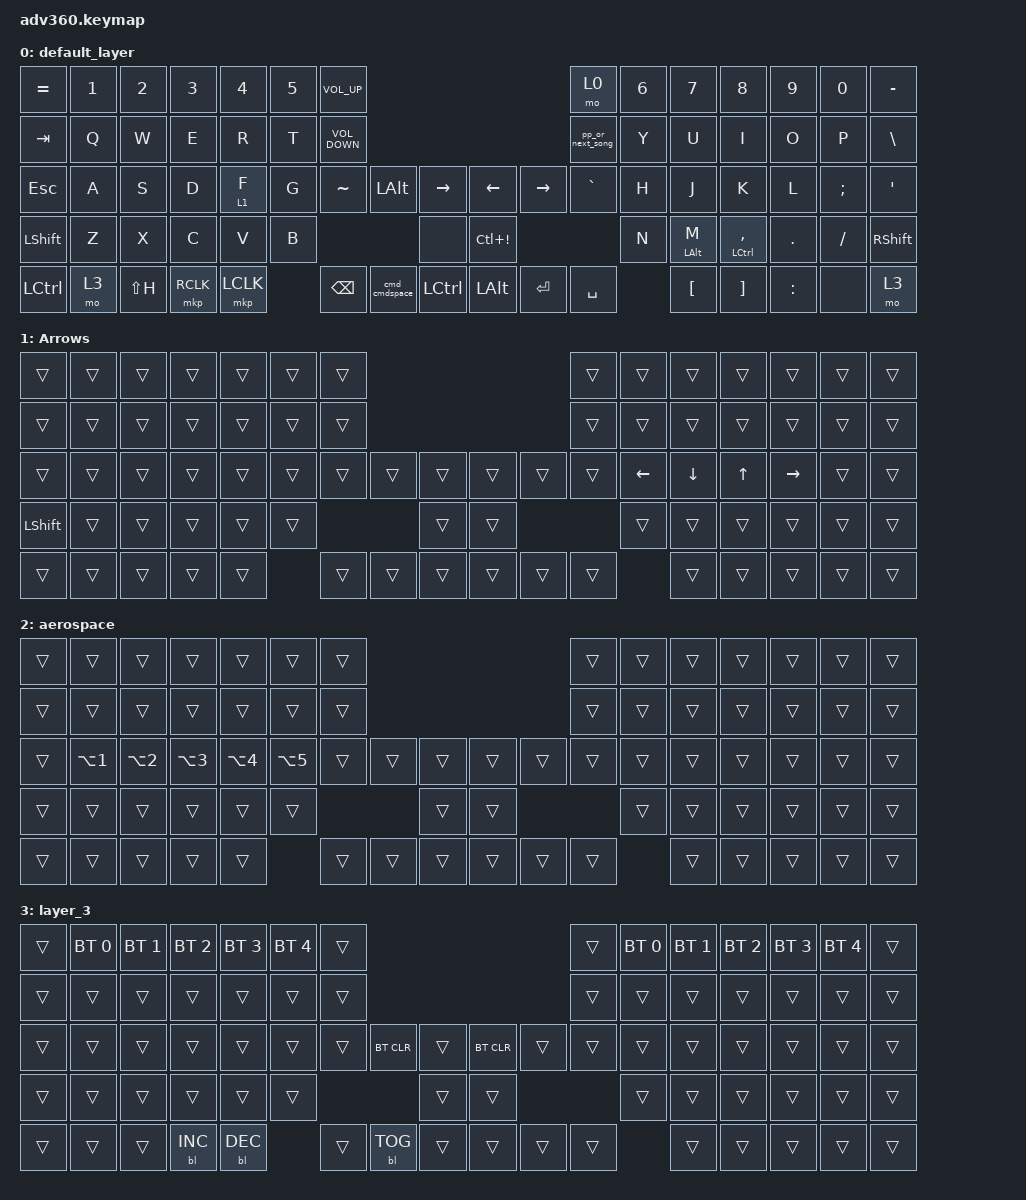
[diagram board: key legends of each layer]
#include <dt-bindings/zmk/mouse.h>
#include <behaviors.dtsi>
#include <dt-bindings/zmk/backlight.h>
#include <dt-bindings/zmk/bt.h>
#include <dt-bindings/zmk/keys.h>

/ {
    behaviors {
        #include "macros.dtsi"
      #include "version.dtsi"
      #ifndef VERSION_MACRO

        macro_ver: macro_ver {
            compatible = "zmk,behavior-macro";
            label = "macro_version";
            #binding-cells = <0>;
            bindings = <&kp RET>;
        };

        #endif

        cmd_cmdspace: cmd_cmdspace {
            compatible = "zmk,behavior-tap-dance";
            label = "CMD_CMDSPACE";
            #binding-cells = <0>;
            bindings = <&kp LGUI>, <&kp LG(SPACE)>;
        };

        pp_or_next_song: pp_or_next_song {
            compatible = "zmk,behavior-tap-dance";
            label = "PP_OR_NEXT_SONG";
            #binding-cells = <0>;
            bindings = <&kp C_PP>, <&kp C_NEXT>, <&kp C_PREV>;
        };

        colons: colons {
            compatible = "zmk,behavior-tap-dance";
            label = "COLONS";
            #binding-cells = <0>;
            bindings = <&kp SEMICOLON>, <&kp COLON>;
        };

        spaceshift: spaceshift {
            compatible = "zmk,behavior-hold-tap";
            label = "SPACESHIFT";
            bindings = <&kp>, <&kp>;

            #binding-cells = <2>;
            tapping-term-ms = <100>;
            quick-tap-ms = <75>;
            flavor = "tap-preferred";
            hold-trigger-key-positions = <70>;
        };

        hml_mod_3: hml_mod_3 {
            compatible = "zmk,behavior-hold-tap";
            label = "HML_MOD_3";
            bindings = <&mo>, <&kp>;

            #binding-cells = <2>;
            tapping-term-ms = <200>;
            flavor = "balanced";
            quick-tap-ms = <175>;
            hold-trigger-on-release;
            hold-trigger-key-positions = <40 41 42 43>;
        };

        hml: hml {
            compatible = "zmk,behavior-hold-tap";
            label = "HML";
            bindings = <&kp>, <&kp>;

            #binding-cells = <2>;
            tapping-term-ms = <200>;
            flavor = "balanced";
            quick-tap-ms = <175>;
            hold-trigger-on-release;
            hold-trigger-key-positions = <40 41 42 43 37 53 68 70 69 38 21 22 25 7 8 9 10 11 12 13 21 22 23 24 25 26 27 38 39 40 41 42 43 44 45 54 55 56 57 58 59 69 70 71 72 73 74 75>;
        };

        hmr_mod: hmr_mod {
            compatible = "zmk,behavior-hold-tap";
            label = "HMR_MOD";
            bindings = <&mo>, <&kp>;

            #binding-cells = <2>;
            tapping-term-ms = <200>;
            flavor = "balanced";
            quick-tap-ms = <175>;
            hold-trigger-on-release;
            hold-trigger-key-positions = <29 30 31 32 33>;
        };

        hmr: hmr {
            compatible = "zmk,behavior-hold-tap";
            label = "HMR";
            bindings = <&kp>, <&kp>;

            #binding-cells = <2>;
            tapping-term-ms = <200>;
            flavor = "balanced";
            quick-tap-ms = <175>;
            hold-trigger-on-release;
            hold-trigger-key-positions = <0 1 2 3 4 5 6 14 15 16 17 18 19 20 28 29 30 31 32 33 34 35 36 46 47 48 49 50 51 52 60 61 62 63 64 65 66 67>;
        };

        hml_mouse: hml_mouse {
            compatible = "zmk,behavior-hold-tap";
            label = "HML_MOUSE";
            bindings = <&kp>, <&mkp>;

            #binding-cells = <2>;
            tapping-term-ms = <200>;
            flavor = "balanced";
            quick-tap-ms = <175>;
            hold-trigger-on-release;
        };
    };

    combos {
        compatible = "zmk,combos";

        jk_is_ctrl_s {
            bindings = <&kp LC(S)>;
            key-positions = <41 42>;
        };

        df_to_ctrl_shift_f {
            bindings = <&kp LC(M)>;
            key-positions = <31 32>;
        };
    };

    macros {
    };

    keymap {
        compatible = "zmk,keymap";

        default_layer {
            bindings = <
&kp EQUAL  &kp N1  &kp N2     &kp N3     &kp N4          &kp N5  &kp C_VOL_UP                                                              &mo 0             &kp N6  &kp N7            &kp N8             &kp N9      &kp N0         &kp MINUS
&kp TAB    &kp Q   &kp W      &kp E      &kp R           &kp T   &kp C_VOLUME_DOWN                                                         &pp_or_next_song  &kp Y   &kp U             &kp I              &kp O       &kp P          &kp BSLH
&kp ESC    &kp A   &kp S      &kp D      &hml_mod_3 1 F  &kp G   &kp TILDE          &kp LEFT_ALT   &kp RIGHT      &kp LEFT      &kp RIGHT  &kp GRAVE         &kp H   &kp J             &kp K              &kp L       &kp SEMICOLON  &kp SQT
&kp LSHFT  &kp Z   &kp X      &kp C      &kp V           &kp B                                     &none          &kp LC(EXCL)                               &kp N   &hmr LALT M       &hmr LCTRL COMMA   &kp PERIOD  &kp FSLH       &kp RSHFT
&kp LCTRL  &mo 3   &kp LS(H)  &mkp RCLK  &mkp LCLK               &kp BSPC           &cmd_cmdspace  &kp LCTRL      &kp LEFT_ALT  &kp ENTER  &kp SPACE                 &kp LEFT_BRACKET  &kp RIGHT_BRACKET  &kp COLON   &none          &mo 3
            >;
        };

        Arrows {
            bindings = <
&trans      &trans  &trans  &trans  &trans  &trans  &trans                                      &trans  &trans    &trans    &trans        &trans     &trans  &trans
&trans      &trans  &trans  &trans  &trans  &trans  &trans                                      &trans  &trans    &trans    &trans        &trans     &trans  &trans
&trans      &trans  &trans  &trans  &trans  &trans  &trans  &trans  &trans      &trans  &trans  &trans  &kp LEFT  &kp DOWN  &kp UP_ARROW  &kp RIGHT  &trans  &trans
&kp LSHIFT  &trans  &trans  &trans  &trans  &trans                  &trans      &trans                  &trans    &trans    &trans        &trans     &trans  &trans
&trans      &trans  &trans  &trans  &trans          &trans  &trans  &trans      &trans  &trans  &trans            &trans    &trans        &trans     &trans  &trans
            >;
        };

        aerospace {
            bindings = <
&trans  &trans            &trans            &trans            &trans            &trans      &trans                                      &trans  &trans  &trans  &trans  &trans  &trans  &trans
&trans  &trans            &trans            &trans            &trans            &trans      &trans                                      &trans  &trans  &trans  &trans  &trans  &trans  &trans
&trans  &kp LA(NUMBER_1)  &kp LA(NUMBER_2)  &kp LA(NUMBER_3)  &kp LA(NUMBER_4)  &kp LA(N5)  &trans  &trans  &trans      &trans  &trans  &trans  &trans  &trans  &trans  &trans  &trans  &trans
&trans  &trans            &trans            &trans            &trans            &trans                      &trans      &trans                  &trans  &trans  &trans  &trans  &trans  &trans
&trans  &trans            &trans            &trans            &trans                        &trans  &trans  &trans      &trans  &trans  &trans          &trans  &trans  &trans  &trans  &trans
            >;
        };

        layer_3 {
            bindings = <
&trans  &bt BT_SEL 0  &bt BT_SEL 1  &bt BT_SEL 2  &bt BT_SEL 3  &bt BT_SEL 4  &trans                                              &trans  &bt BT_SEL 0  &bt BT_SEL 1  &bt BT_SEL 2  &bt BT_SEL 3  &bt BT_SEL 4  &trans
&trans  &trans        &trans        &trans        &trans        &trans        &trans                                              &trans  &trans        &trans        &trans        &trans        &trans        &trans
&trans  &trans        &trans        &trans        &trans        &trans        &trans  &bt BT_CLR  &trans      &bt BT_CLR  &trans  &trans  &trans        &trans        &trans        &trans        &trans        &trans
&trans  &trans        &trans        &trans        &trans        &trans                            &trans      &trans                      &trans        &trans        &trans        &trans        &trans        &trans
&trans  &trans        &trans        &bl BL_INC    &bl BL_DEC                  &trans  &bl BL_TOG  &trans      &trans      &trans  &trans                &trans        &trans        &trans        &trans        &trans
            >;
        };
    };
};
